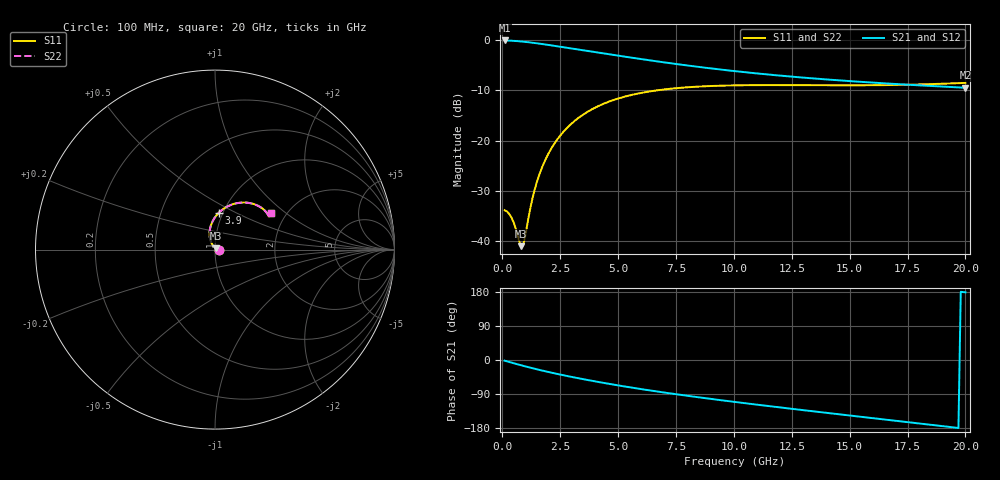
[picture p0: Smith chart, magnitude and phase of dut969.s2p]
! Touchstone file exported from HFSS 2024.1.0
!  File:  C:/UserFiles/LocalFiles/RDL_TSV_Batchsim/temp_RDL_TSV_969_1779970958.aedt
!  Generated:  08:37:35 PM May 28, 2026
!  Design:  RDL_TSV
!  Project:  temp_RDL_TSV_969_1779970958
!  Setup:  Setup1
!  Solution:  Sweep
! Variables:
!  dtsv = 10.13um
!  hbump = 3um
!  htsv = 99.93um
!  ldown = 228.08um
!  lrdl = 351.8um
!  p = 40
!  p1 = 56.48um
!  rhole = 10um
!  subl = 2091.44um
!  t = 450um
!  tdown = 3.52um
!  trdl = 2.19um
!  viad = 10um
!  wdown = 16.61um
!  wrdl = 14.12um
!  xbump = 18um
# GHz S MA R 50.000000
! Terminal data exported
! Port[1] = TM1_1_T1
! Port[2] = TM1_4_T1
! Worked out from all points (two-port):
!   200 points, 100 MHz to 20 GHz, reference 50 ohm
!   highest |S21| = -0.18 dB at 100 MHz (marker M1); lowest = -9.5 dB at 20 GHz (marker M2)
!   |S21| within 3 dB of the highest: start of sweep to 4.988 GHz
!   lowest |S11| = -40.9 dB at 800 MHz (marker M3), VSWR 1.02, Z = 50.6 + j0.63 ohm
!   |S11| at or under -10 dB: start of sweep to 6.789 GHz
!   |S22| runs from -40.9 to -8.6 dB; largest |S21 - S12| = 7.9e-15
!   S11 on the Smith chart (normalised r, x): 100 MHz: 1.04, +0.00; 3.9 GHz: 0.96, +0.41; 20 GHz: 1.67, +0.79
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0.1  0.02044 0.7  0.9789 -1.8  0.9789 -1.8  0.02044 0.7
! Gamma 0 0 0 0
! Port Impedance 50 0 50 0
0.4  0.01722 4.4  0.9731 -7.0  0.9731 -7.0  0.01722 4.4
0.6  0.01298 13.3  0.9663 -10.4  0.9663 -10.4  0.01299 13.2
0.8  0.008988 43.8  0.9576 -13.7  0.9576 -13.7  0.008996 43.6
0.9  0.009108 70.8  0.9526 -15.3  0.9526 -15.3  0.009099 70.5
1  0.01156 93.2  0.9473 -16.9  0.9473 -16.9  0.01153 93.1
1.2  0.02079 112.9  0.9359 -20.1  0.9359 -20.1  0.02073 112.8
1.4  0.03269 117.6  0.9235 -23.1  0.9235 -23.1  0.0326 117.5
1.6  0.04596 117.5  0.9104 -26.1  0.9104 -26.1  0.04585 117.5
1.9  0.06732 114.4  0.8901 -30.4  0.8901 -30.4  0.06718 114.3
2.2  0.08949 109.9  0.8694 -34.5  0.8694 -34.5  0.08932 109.9
2.6  0.1191 103.5  0.8419 -39.7  0.8419 -39.7  0.1189 103.5
3  0.1477 97.2  0.8149 -44.7  0.8149 -44.7  0.1475 97.2
3.5  0.1811 89.8  0.7822 -50.7  0.7822 -50.7  0.1808 89.8
3.9  0.2054 84.4  0.757 -55.2  0.757 -55.2  0.205 84.4
5.2  0.2684 69.4  0.6814 -69.0  0.6814 -69.0  0.268 69.4
6.8  0.3165 55.8  0.6023 -84.2  0.6023 -84.2  0.316 55.8
8.4  0.3412 46.2  0.5383 -97.8  0.5383 -97.8  0.3407 46.2
10.1  0.3518 39.2  0.4848 -111.2  0.4848 -111.2  0.3513 39.2
13.4  0.3527 32.5  0.4124 -135.2  0.4124 -135.2  0.3522 32.5
16.7  0.3542 31.8  0.3659 -158.4  0.3659 -158.4  0.3537 31.7
20  0.3721 33.1  0.3331 178.6  0.3331 178.6  0.3716 33.1
